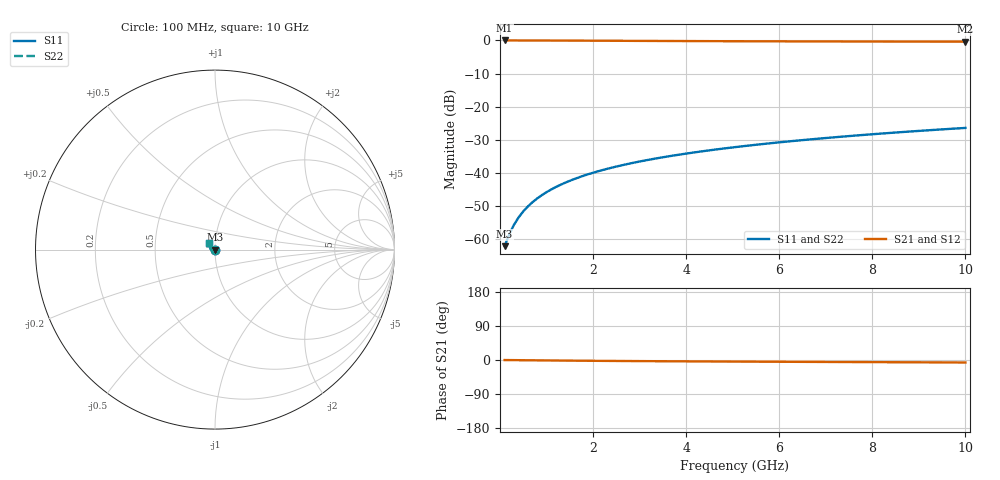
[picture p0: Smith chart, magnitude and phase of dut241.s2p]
! Touchstone file exported from HFSS 2024.1.0
!  File:  C:/UserFiles/LocalFiles/RDL_TSV_Batchsim/temp_TSV1_241_1779389592.aedt
!  Generated:  03:01:04 AM May 22, 2026
!  Design:  TSV1
!  Project:  temp_TSV1_241_1779389592
!  Setup:  Setup1
!  Solution:  Sweep
! Variables:
!  dtsv = 5.11um
!  hbump = 3um
!  htsv = 96.89um
!  lrdl = 252.1521522um
!  p = 40
!  p1 = 53.08um
!  t = 500um
!  trdl = 3um
!  wrdl = 24.89489489um
# GHz S MA R 50.000000
! Terminal data exported
! Port[1] = TSV22_T1
! Port[2] = TSV22_T2
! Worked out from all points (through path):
!   100 points, 100 MHz to 10 GHz, reference 50 ohm
!   highest |S21| = -0.01 dB at 100 MHz (marker M1); lowest = -0.4 dB at 10 GHz (marker M2)
!   lowest |S11| = -62.1 dB at 100 MHz (marker M3), VSWR 1.00, Z = 50.1 - j0.0528 ohm
!   |S11| at or under -10 dB: start of sweep to end of sweep
!   |S22| runs from -62.1 to -26.4 dB; largest |S21 - S12| = 7e-15
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0.1  0.0007839 -42.3  0.9994 -0.1  0.9994 -0.1  0.0007839 -42.3
! Gamma 0 0 0 0
! Port Impedance 50 0 50 0
0.2  0.001183 -64.3  0.9993 -0.2  0.9993 -0.2  0.001183 -64.3
0.3  0.001644 -76.2  0.9991 -0.4  0.9991 -0.4  0.001644 -76.2
0.4  0.002128 -84.0  0.999 -0.5  0.999 -0.5  0.002128 -84.0
0.5  0.002621 -89.9  0.9987 -0.6  0.9987 -0.6  0.002621 -89.9
0.6  0.003118 -94.7  0.9985 -0.7  0.9985 -0.7  0.003118 -94.7
0.7  0.003618 -98.9  0.9982 -0.8  0.9982 -0.8  0.003618 -98.9
0.9  0.004619 -106.3  0.9974 -1.0  0.9974 -1.0  0.004619 -106.3
1  0.005119 -109.6  0.997 -1.1  0.997 -1.1  0.005119 -109.6
1.2  0.006117 -115.8  0.9961 -1.4  0.9961 -1.4  0.006117 -115.8
1.5  0.007605 -124.3  0.9944 -1.7  0.9944 -1.7  0.007605 -124.3
1.8  0.009081 -132.1  0.9926 -1.9  0.9926 -1.9  0.009081 -132.1
2.1  0.01054 -139.3  0.9906 -2.2  0.9906 -2.2  0.01054 -139.3
2.5  0.01247 -148.2  0.9879 -2.5  0.9879 -2.5  0.01247 -148.2
2.9  0.01439 -156.3  0.9852 -2.8  0.9852 -2.8  0.01439 -156.3
3.4  0.01675 -165.5  0.9819 -3.2  0.9819 -3.2  0.01675 -165.5
4.2  0.02051 -178.1  0.9772 -3.7  0.9772 -3.7  0.02051 -178.1
5.1  0.02473 170.2  0.9727 -4.2  0.9727 -4.2  0.02473 170.2
5.9  0.02848 161.6  0.9694 -4.6  0.9694 -4.6  0.02847 161.6
6.7  0.03223 154.3  0.9666 -5.0  0.9666 -5.0  0.03223 154.3
8.4  0.04024 142.0  0.9621 -5.8  0.9621 -5.8  0.04024 142.0
10  0.0478 133.3  0.9589 -6.6  0.9589 -6.6  0.0478 133.3
